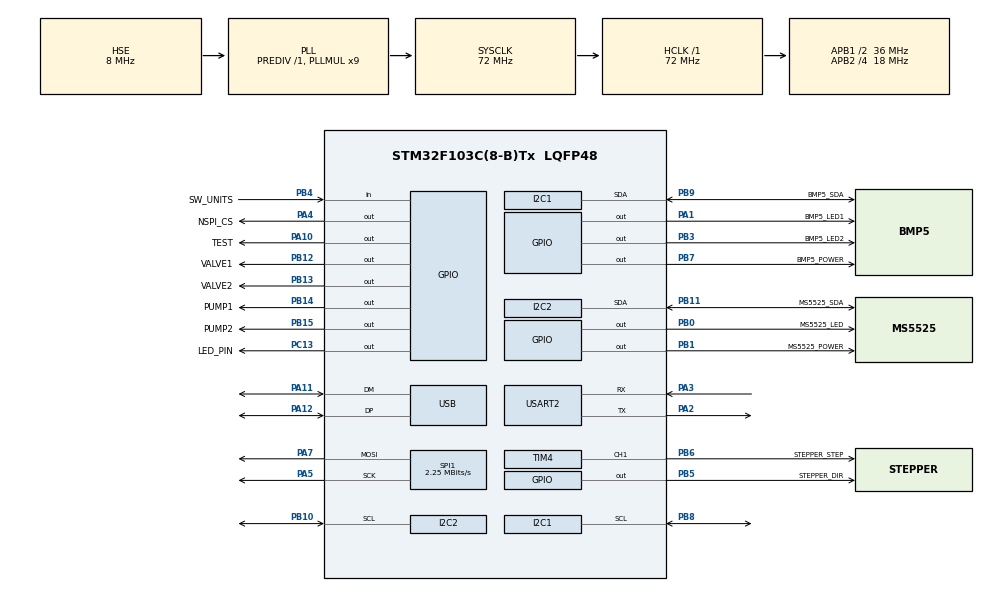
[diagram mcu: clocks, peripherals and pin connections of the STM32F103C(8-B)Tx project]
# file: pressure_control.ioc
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Dma.Request0=USART2_RX
Dma.USART2_RX.0.Direction=DMA_PERIPH_TO_MEMORY
Dma.USART2_RX.0.Instance=DMA1_Channel6
Dma.USART2_RX.0.MemDataAlignment=DMA_MDATAALIGN_BYTE
Dma.USART2_RX.0.MemInc=DMA_MINC_ENABLE
Dma.USART2_RX.0.Mode=DMA_CIRCULAR
Dma.USART2_RX.0.PeriphDataAlignment=DMA_PDATAALIGN_BYTE
Dma.USART2_RX.0.PeriphInc=DMA_PINC_DISABLE
Dma.USART2_RX.0.Priority=DMA_PRIORITY_LOW
I2C1.DutyCycle=I2C_DUTYCYCLE_2
I2C1.I2C_Mode=I2C_Fast
I2C2.I2C_Mode=I2C_Fast
IWDG.Prescaler=IWDG_PRESCALER_64
Mcu.Family=STM32F1
Mcu.Name=STM32F103C(8-B)Tx
Mcu.Package=LQFP48
Mcu.UserConstants=StepperTimer,TIM4;LL_STEPPER_CHANNEL,1
NVIC.DMA1_Channel6_IRQn=true\:0\:0\:false\:false\:true\:false\:true\:true
NVIC.PriorityGroup=NVIC_PRIORITYGROUP_4
NVIC.USB_LP_CAN1_RX0_IRQn=true\:0\:0\:false\:false\:true\:false\:true\:true
PA1.GPIO_Label=BMP5_LED1
PA1.Signal=GPIO_Output
PA10.GPIO_Label=TEST
PA10.GPIO_Speed=GPIO_SPEED_FREQ_HIGH
PA10.Signal=GPIO_Output
PA11.Mode=Device
PA11.Signal=USB_DM
PA12.Mode=Device
PA12.Signal=USB_DP
PA13.Mode=Serial_Wire
PA13.Signal=SYS_JTMS-SWDIO
PA14.Mode=Serial_Wire
PA14.Signal=SYS_JTCK-SWCLK
PA2.Mode=Asynchronous
PA2.Signal=USART2_TX
PA3.Mode=Asynchronous
PA3.Signal=USART2_RX
PA4.GPIO_Label=NSPI_CS
PA4.GPIO_Speed=GPIO_SPEED_FREQ_HIGH
PA4.PinState=GPIO_PIN_SET
PA4.Signal=GPIO_Output
PA5.Mode=TX_Only_Simplex_Unidirect_Master
PA5.Signal=SPI1_SCK
PA7.Mode=TX_Only_Simplex_Unidirect_Master
PA7.Signal=SPI1_MOSI
PB0.GPIO_Label=MS5525_LED
PB0.Signal=GPIO_Output
PB1.GPIO_Label=MS5525_POWER
PB1.GPIO_Speed=GPIO_SPEED_FREQ_HIGH
PB1.PinState=GPIO_PIN_SET
PB1.Signal=GPIO_Output
PB10.Mode=I2C
PB10.Signal=I2C2_SCL
PB11.GPIO_Label=MS5525_SDA
PB11.Mode=I2C
PB11.Signal=I2C2_SDA
PB12.GPIO_Label=VALVE1
PB12.GPIO_ModeDefaultOutputPP=GPIO_MODE_OUTPUT_OD
PB12.GPIO_PuPd=GPIO_NOPULL
PB12.GPIO_Speed=GPIO_SPEED_FREQ_HIGH
PB12.PinState=GPIO_PIN_RESET
PB12.Signal=GPIO_Output
PB13.GPIO_Label=VALVE2
PB13.GPIO_ModeDefaultOutputPP=GPIO_MODE_OUTPUT_OD
PB13.GPIO_PuPd=GPIO_NOPULL
PB13.GPIO_Speed=GPIO_SPEED_FREQ_HIGH
PB13.PinState=GPIO_PIN_RESET
PB13.Signal=GPIO_Output
PB14.GPIO_Label=PUMP1
PB14.GPIO_ModeDefaultOutputPP=GPIO_MODE_OUTPUT_OD
PB14.GPIO_PuPd=GPIO_NOPULL
PB14.GPIO_Speed=GPIO_SPEED_FREQ_HIGH
PB14.PinState=GPIO_PIN_RESET
PB14.Signal=GPIO_Output
PB15.GPIO_Label=PUMP2
PB15.GPIO_ModeDefaultOutputPP=GPIO_MODE_OUTPUT_OD
PB15.GPIO_PuPd=GPIO_NOPULL
PB15.GPIO_Speed=GPIO_SPEED_FREQ_HIGH
PB15.PinState=GPIO_PIN_RESET
PB15.Signal=GPIO_Output
PB3.GPIO_Label=BMP5_LED2
PB3.Signal=GPIO_Output
PB4.GPIO_Label=SW_UNITS
PB4.GPIO_PuPd=GPIO_PULLUP
PB4.Signal=GPIO_Input
PB5.GPIO_Label=STEPPER_DIR
PB5.GPIO_Speed=GPIO_SPEED_FREQ_HIGH
PB5.Signal=GPIO_Output
PB6.GPIO_Label=STEPPER_STEP
PB6.GPIO_Speed=GPIO_SPEED_FREQ_HIGH
PB6.Signal=S_TIM4_CH1
PB7.GPIO_Label=BMP5_POWER
PB7.GPIO_Speed=GPIO_SPEED_FREQ_HIGH
PB7.PinState=GPIO_PIN_SET
PB7.Signal=GPIO_Output
PB8.Mode=I2C
PB8.Signal=I2C1_SCL
PB9.GPIO_Label=BMP5_SDA
PB9.Mode=I2C
PB9.Signal=I2C1_SDA
PC13-TAMPER-RTC.GPIO_Label=LED_PIN
PC13-TAMPER-RTC.PinState=GPIO_PIN_RESET
PC13-TAMPER-RTC.Signal=GPIO_Output
PD0-OSC_IN.Mode=HSE-External-Oscillator
PD0-OSC_IN.Signal=RCC_OSC_IN
PD1-OSC_OUT.Mode=HSE-External-Oscillator
PD1-OSC_OUT.Signal=RCC_OSC_OUT
ProjectManager.HeapSize=0x200
ProjectManager.StackSize=0x400
ProjectManager.TargetToolchain=STM32CubeIDE
RCC.AHBFreq_Value=72000000
RCC.APB1CLKDivider=RCC_HCLK_DIV2
RCC.APB1Freq_Value=36000000
RCC.APB1TimFreq_Value=72000000
RCC.APB2CLKDivider=RCC_HCLK_DIV4
RCC.APB2Freq_Value=18000000
RCC.APB2TimFreq_Value=36000000
RCC.HCLKFreq_Value=72000000
RCC.PLLMUL=RCC_PLL_MUL9
RCC.SYSCLKFreq_VALUE=72000000
RCC.SYSCLKSource=RCC_SYSCLKSOURCE_PLLCLK
RCC.USBFreq_Value=48000000
RCC.USBPrescaler=RCC_USBCLKSOURCE_PLL_DIV1_5
SH.S_TIM4_CH1.0=TIM4_CH1,PWM Generation1 CH1
SPI1.BaudRatePrescaler=SPI_BAUDRATEPRESCALER_8
SPI1.CalculateBaudRate=2.25 MBits/s
SPI1.Direction=SPI_DIRECTION_2LINES
SPI1.Mode=SPI_MODE_MASTER
SPI1.VirtualType=VM_MASTER
TIM1.Channel-Output\ Compare1\ No\ Output=TIM_CHANNEL_1
TIM1.ClockDivision=TIM_CLOCKDIVISION_DIV2
TIM1.OC1Preload=ENABLE
TIM1.OCMode_1=TIM_OCMODE_ACTIVE
TIM1.Prescaler=msec_ticks/2
TIM1.Pulse-Output\ Compare1\ No\ Output=1
TIM1.TIM_MasterOutputTrigger=TIM_TRGO_OC1REF
TIM1.TIM_MasterSlaveMode=TIM_MASTERSLAVEMODE_DISABLE
TIM2.Channel-Output\ Compare1\ No\ Output=TIM_CHANNEL_1
TIM2.OC1Preload=ENABLE
TIM2.OCMode_1=TIM_OCMODE_TOGGLE
TIM2.Prescaler=usec_ticks-1
TIM2.TIM_MasterOutputTrigger=TIM_TRGO_OC1REF
TIM4.AutoReloadPreload=TIM_AUTORELOAD_PRELOAD_ENABLE
TIM4.Channel-PWM\ Generation1\ CH1=TIM_CHANNEL_1
TIM4.Prescaler=usec_ticks-1
USART2.VirtualMode=VM_ASYNC
USB_DEVICE.CLASS_NAME_FS=CDC
USB_DEVICE.VirtualMode=Cdc
USB_DEVICE.VirtualModeFS=Cdc_FS
VP_IWDG_VS_IWDG.Mode=IWDG_Activate
VP_TIM1_VS_ClockSourceINT.Mode=Internal
VP_TIM1_VS_no_output1.Mode=Output Compare1 No Output
VP_TIM2_VS_ClockSourceINT.Mode=Internal
VP_TIM2_VS_no_output1.Mode=Output Compare1 No Output
VP_TIM4_VS_ClockSourceINT.Mode=Internal
VP_USB_DEVICE_VS_USB_DEVICE_CDC_FS.Mode=CDC_FS
board=custom

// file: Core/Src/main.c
/* USER CODE BEGIN Header */
/**
  ******************************************************************************
  * @file           : main.c
  * @brief          : Main program body
  ******************************************************************************
  * @attention
  *
  * Copyright (c) 2026 STMicroelectronics.
  * All rights reserved.
  *
  * This software is licensed under terms that can be found in the LICENSE file
  * in the root directory of this software component.
  * If no LICENSE file comes with this software, it is provided AS-IS.
  *
  ******************************************************************************
  */
/* USER CODE END Header */
#include "main.h"
#include "usb_device.h"

/* USER CODE BEGIN Includes */
#include "usbd_cdc_if.h"

#include "nhd0420dzw.h"
#include "serial.h"
#include "control.h"
/* USER CODE END Includes */

I2C_HandleTypeDef hi2c1;
I2C_HandleTypeDef hi2c2;

IWDG_HandleTypeDef hiwdg;

SPI_HandleTypeDef hspi1;

UART_HandleTypeDef huart2;
DMA_HandleTypeDef hdma_usart2_rx;

/* USER CODE BEGIN PV */
/* System clock ticks per millisecond */
uint32_t msec_ticks;
/* System clock ticks per microsecond */
uint32_t usec_ticks;

/* Sensor output data */
struct bmp5_sensor_data bmp5_data[2];
ms5525dso_data_t ms5525_data;

/* Device handles */
bmp580_ref bmp5_dev1 = NULL;
bmp580_ref bmp5_dev2 = NULL;
ms5525_ref ms5525_dev = NULL;
nhd0420_ref lcd_dev = NULL;

/*
 * Integral status of all sensors.
 */
HAL_StatusTypeDef sensors_active = HAL_OK;

device_status_t device_status_table[DEV_STATUS_COUNT] = {
    [DEV_SENSOR_BMP_1] = {
	HAL_ERROR,
	&hi2c1,
	BMP5_LED1_GPIO_Port,
	BMP5_LED1_Pin,
    },
    [DEV_SENSOR_BMP_2] = {
	HAL_ERROR,
	&hi2c1,
	BMP5_LED2_GPIO_Port,
	BMP5_LED2_Pin,
    },
    [DEV_SENSOR_MS5525] = {
	HAL_ERROR,
	&hi2c2,
	MS5525_LED_GPIO_Port,
	MS5525_LED_Pin,
    },
};

/* Button states */
#define UNITS_SWITCH_IS_MOMENTARY 0

enum {
  BTN_UNITS = 0,
  BTN_COUNT,
};

static uint8_t buttons_states[BTN_COUNT] = { 0 };
static uint8_t button_pressed[BTN_COUNT] = { 0 };

static GPIO_TypeDef *buttons_ports[BTN_COUNT] = { SW_UNITS_GPIO_Port };
static uint32_t buttons_pins[BTN_COUNT] = { SW_UNITS_Pin };

/* Display units */
enum {
  UNITS_SET1, /* Pa */
  UNITS_SET2, /* PSI, inHg */
  UNITS_SET_COUNT,
};

static uint8_t active_units = UNITS_SET1;

/* USER CODE END PV */

void SystemClock_Config(void);
static void MX_GPIO_Init(void);
static void MX_DMA_Init(void);
static void MX_SPI1_Init(void);
static void MX_USART2_UART_Init(void);
static void MX_TIM1_Init(void);
static void MX_TIM4_Init(void);
static void MX_I2C1_Init(void);
static void MX_TIM2_Init(void);
static void MX_I2C2_Init(void);
static void MX_IWDG_Init(void);
/* USER CODE BEGIN PFP */
void read_sensors(void);
void update_screen(void);
void update_system_status(void);
void check_reset_i2c_bus(void);
/* USER CODE END PFP */

/* USER CODE BEGIN 0 */
/**
 * TIM1 is setup to run at 1kHz, counting milliseconds.
 * This is 16-bit timer used to time short intervals needed by sensors.
 */
uint16_t ms_clock(void)
{
  return TIM1->CNT;
}

/**
 * TIM2 is setup to run at 1MHz, counting microseconds.
 * This is 16-bit timer used to time short intervals needed by sensors.
 */
uint16_t us_clock(void)
{
  return TIM2->CNT;
}

void us_delay(uint32_t delay)
{
  uint16_t cnt = LL_TIM_GetCounter(TIM2);
  uint16_t new_cnt = cnt + delay;
  LL_TIM_OC_SetCompareCH1(TIM2, new_cnt);
  while (LL_TIM_GetCounter(TIM2) - cnt < delay) {
//      __WFI();
  }
}

/* Button processing function.
 * Button press action is registered upon release.
 * This function does not do jitter filtering.
 * Registered press action is stored in the button_pressed[] array.
 * The reader is responsible for clearing the flag after reading.
 *  */
static void check_button_presses(void)
{
  unsigned i;
  for (i = 0; i < BTN_COUNT; i++) {
      uint32_t pinstate = LL_GPIO_IsInputPinSet(buttons_ports[i], buttons_pins[i]);

      if (pinstate ^ buttons_states[i]) {
	  button_pressed[i] = buttons_states[i];
      }

      buttons_states[i] = pinstate;
  }
}

/* Units selection */
static void check_units_button(void)
{
#if UNITS_SWITCH_IS_MOMENTARY
  if (button_pressed[BTN_UNITS]) {
      button_pressed[BTN_UNITS] = 0;
      active_units += 1;
      if (active_units > UNITS_SET_COUNT) {
	  active_units = UNITS_SET1;
      }
  }
#else
  active_units = buttons_states[BTN_UNITS] ? UNITS_SET1 : UNITS_SET2;
#endif
}

/* USER CODE END 0 */

int main(void)
{

  /* MCU Configuration--------------------------------------------------------*/

  /* Reset of all peripherals, Initializes the Flash interface and the Systick. */
  HAL_Init();

  /* Configure the system clock */
  SystemClock_Config();

  /* USER CODE BEGIN SysInit */
  usec_ticks = (HAL_RCC_GetHCLKFreq() / 1000000);

  /* When assigning Prescaler divide by 2 to fit in 16 bits. ClockDivision must be also set to DIV2 */
  msec_ticks = (HAL_RCC_GetHCLKFreq() / 1000);
  /* USER CODE END SysInit */

  /* Initialize all configured peripherals */
  MX_GPIO_Init();
  MX_DMA_Init();
  MX_SPI1_Init();
  MX_USART2_UART_Init();
  MX_USB_DEVICE_Init();
  MX_TIM1_Init();
  MX_TIM4_Init();
  MX_I2C1_Init();
  MX_TIM2_Init();
  MX_I2C2_Init();
  MX_IWDG_Init();
  /* USER CODE BEGIN 2 */
//  LL_TIM_CC_EnableChannel(TIM1, LL_TIM_CHANNEL_CH1 | LL_TIM_CHANNEL_CH2 | LL_TIM_CHANNEL_CH3);
  LL_TIM_EnableCounter(TIM1);
  LL_TIM_EnableCounter(TIM2);
//  LL_TIM_EnableCounter(TIM3);
  LL_TIM_EnableCounter(TIM4);

  load_control_parameters(&hi2c2);
//  HAL_GPIO_WritePin(LED_PIN_GPIO_Port, LED_PIN_Pin, 1);
  /* USER CODE END 2 */

  /* Infinite loop */
  /* USER CODE BEGIN WHILE */
  lcd_dev = nhd0420_setup(&hspi1);

  uint16_t usec_counter = us_clock();
  uint16_t l_delta = 0;
  uint32_t update_screen_timer = 0;

  while (1)
  {
      l_delta = us_clock() - usec_counter;
      usec_counter += l_delta;

      update_screen_timer += l_delta;
      if (update_screen_timer > 500000) {

	  check_save_control_parameters(&hi2c2);
	  check_units_button();

	  /* Update screen every 0.5 second */
	  update_screen_timer -= 500000;
	  update_screen();

	  /* Indicate overall system health using the on-board led.
	   * Solid green = Good, blinking green = Error. */
	  if (HAL_OK == sensors_active) {
	      LL_GPIO_ResetOutputPin(LED_PIN_GPIO_Port, LED_PIN_Pin);
	      HAL_IWDG_Refresh(&hiwdg);
	  } else {
	      LL_GPIO_TogglePin(LED_PIN_GPIO_Port, LED_PIN_Pin);
	  }
      }

      read_sensors();
      update_system_status();
      run_control_loop();
      check_reset_i2c_bus();
      check_button_presses();
    /* USER CODE END WHILE */

    /* USER CODE BEGIN 3 */
      process_serial_input();
  }
  /* USER CODE END 3 */
}

void SystemClock_Config(void)
{
  RCC_OscInitTypeDef RCC_OscInitStruct = {0};
  RCC_ClkInitTypeDef RCC_ClkInitStruct = {0};
  RCC_PeriphCLKInitTypeDef PeriphClkInit = {0};

  /** Initializes the RCC Oscillators according to the specified parameters
  * in the RCC_OscInitTypeDef structure.
  */
  RCC_OscInitStruct.OscillatorType = RCC_OSCILLATORTYPE_LSI|RCC_OSCILLATORTYPE_HSE;
  RCC_OscInitStruct.HSEState = RCC_HSE_ON;
  RCC_OscInitStruct.HSEPredivValue = RCC_HSE_PREDIV_DIV1;
  RCC_OscInitStruct.HSIState = RCC_HSI_ON;
  RCC_OscInitStruct.LSIState = RCC_LSI_ON;
  RCC_OscInitStruct.PLL.PLLState = RCC_PLL_ON;
  RCC_OscInitStruct.PLL.PLLSource = RCC_PLLSOURCE_HSE;
  RCC_OscInitStruct.PLL.PLLMUL = RCC_PLL_MUL9;
  if (HAL_RCC_OscConfig(&RCC_OscInitStruct) != HAL_OK)
  {
    Error_Handler();
  }

  /** Initializes the CPU, AHB and APB buses clocks
  */
  RCC_ClkInitStruct.ClockType = RCC_CLOCKTYPE_HCLK|RCC_CLOCKTYPE_SYSCLK
                              |RCC_CLOCKTYPE_PCLK1|RCC_CLOCKTYPE_PCLK2;
  RCC_ClkInitStruct.SYSCLKSource = RCC_SYSCLKSOURCE_PLLCLK;
  RCC_ClkInitStruct.AHBCLKDivider = RCC_SYSCLK_DIV1;
  RCC_ClkInitStruct.APB1CLKDivider = RCC_HCLK_DIV2;
  RCC_ClkInitStruct.APB2CLKDivider = RCC_HCLK_DIV4;

  if (HAL_RCC_ClockConfig(&RCC_ClkInitStruct, FLASH_LATENCY_2) != HAL_OK)
  {
    Error_Handler();
  }
  PeriphClkInit.PeriphClockSelection = RCC_PERIPHCLK_USB;
  PeriphClkInit.UsbClockSelection = RCC_USBCLKSOURCE_PLL_DIV1_5;
  if (HAL_RCCEx_PeriphCLKConfig(&PeriphClkInit) != HAL_OK)
  {
    Error_Handler();
  }
}

static void MX_I2C1_Init(void)
{

  hi2c1.Instance = I2C1;
  hi2c1.Init.ClockSpeed = 400000;
  hi2c1.Init.DutyCycle = I2C_DUTYCYCLE_2;
  hi2c1.Init.OwnAddress1 = 0;
  hi2c1.Init.AddressingMode = I2C_ADDRESSINGMODE_7BIT;
  hi2c1.Init.DualAddressMode = I2C_DUALADDRESS_DISABLE;
  hi2c1.Init.OwnAddress2 = 0;
  hi2c1.Init.GeneralCallMode = I2C_GENERALCALL_DISABLE;
  hi2c1.Init.NoStretchMode = I2C_NOSTRETCH_DISABLE;
  if (HAL_I2C_Init(&hi2c1) != HAL_OK)
  {
    Error_Handler();
  }

}

static void MX_I2C2_Init(void)
{

  hi2c2.Instance = I2C2;
  hi2c2.Init.ClockSpeed = 400000;
  hi2c2.Init.DutyCycle = I2C_DUTYCYCLE_2;
  hi2c2.Init.OwnAddress1 = 0;
  hi2c2.Init.AddressingMode = I2C_ADDRESSINGMODE_7BIT;
  hi2c2.Init.DualAddressMode = I2C_DUALADDRESS_DISABLE;
  hi2c2.Init.OwnAddress2 = 0;
  hi2c2.Init.GeneralCallMode = I2C_GENERALCALL_DISABLE;
  hi2c2.Init.NoStretchMode = I2C_NOSTRETCH_DISABLE;
  if (HAL_I2C_Init(&hi2c2) != HAL_OK)
  {
    Error_Handler();
  }

}

static void MX_IWDG_Init(void)
{

  hiwdg.Instance = IWDG;
  hiwdg.Init.Prescaler = IWDG_PRESCALER_64;
  hiwdg.Init.Reload = 4095;
  if (HAL_IWDG_Init(&hiwdg) != HAL_OK)
  {
    Error_Handler();
  }

}

static void MX_SPI1_Init(void)
{

  /* SPI1 parameter configuration*/
  hspi1.Instance = SPI1;
  hspi1.Init.Mode = SPI_MODE_MASTER;
  hspi1.Init.Direction = SPI_DIRECTION_2LINES;
  hspi1.Init.DataSize = SPI_DATASIZE_8BIT;
  hspi1.Init.CLKPolarity = SPI_POLARITY_LOW;
  hspi1.Init.CLKPhase = SPI_PHASE_1EDGE;
  hspi1.Init.NSS = SPI_NSS_SOFT;
  hspi1.Init.BaudRatePrescaler = SPI_BAUDRATEPRESCALER_8;
  hspi1.Init.FirstBit = SPI_FIRSTBIT_MSB;
  hspi1.Init.TIMode = SPI_TIMODE_DISABLE;
  hspi1.Init.CRCCalculation = SPI_CRCCALCULATION_DISABLE;
  hspi1.Init.CRCPolynomial = 10;
  if (HAL_SPI_Init(&hspi1) != HAL_OK)
  {
    Error_Handler();
  }

}

static void MX_TIM1_Init(void)
{

  LL_TIM_InitTypeDef TIM_InitStruct = {0};
  LL_TIM_OC_InitTypeDef TIM_OC_InitStruct = {0};
  LL_TIM_BDTR_InitTypeDef TIM_BDTRInitStruct = {0};

  /* Peripheral clock enable */
  LL_APB2_GRP1_EnableClock(LL_APB2_GRP1_PERIPH_TIM1);

  TIM_InitStruct.Prescaler = msec_ticks/2;
  TIM_InitStruct.CounterMode = LL_TIM_COUNTERMODE_UP;
  TIM_InitStruct.Autoreload = 65535;
  TIM_InitStruct.ClockDivision = LL_TIM_CLOCKDIVISION_DIV2;
  TIM_InitStruct.RepetitionCounter = 0;
  LL_TIM_Init(TIM1, &TIM_InitStruct);
  LL_TIM_DisableARRPreload(TIM1);
  LL_TIM_SetClockSource(TIM1, LL_TIM_CLOCKSOURCE_INTERNAL);
  TIM_OC_InitStruct.OCMode = LL_TIM_OCMODE_ACTIVE;
  TIM_OC_InitStruct.OCState = LL_TIM_OCSTATE_DISABLE;
  TIM_OC_InitStruct.OCNState = LL_TIM_OCSTATE_DISABLE;
  TIM_OC_InitStruct.CompareValue = 1;
  TIM_OC_InitStruct.OCPolarity = LL_TIM_OCPOLARITY_HIGH;
  TIM_OC_InitStruct.OCNPolarity = LL_TIM_OCPOLARITY_HIGH;
  TIM_OC_InitStruct.OCIdleState = LL_TIM_OCIDLESTATE_LOW;
  TIM_OC_InitStruct.OCNIdleState = LL_TIM_OCIDLESTATE_LOW;
  LL_TIM_OC_Init(TIM1, LL_TIM_CHANNEL_CH1, &TIM_OC_InitStruct);
  LL_TIM_OC_DisableFast(TIM1, LL_TIM_CHANNEL_CH1);
  LL_TIM_SetTriggerOutput(TIM1, LL_TIM_TRGO_OC1REF);
  LL_TIM_DisableMasterSlaveMode(TIM1);
  LL_TIM_OC_EnablePreload(TIM1, LL_TIM_CHANNEL_CH1);
  TIM_BDTRInitStruct.OSSRState = LL_TIM_OSSR_DISABLE;
  TIM_BDTRInitStruct.OSSIState = LL_TIM_OSSI_DISABLE;
  TIM_BDTRInitStruct.LockLevel = LL_TIM_LOCKLEVEL_OFF;
  TIM_BDTRInitStruct.DeadTime = 0;
  TIM_BDTRInitStruct.BreakState = LL_TIM_BREAK_DISABLE;
  TIM_BDTRInitStruct.BreakPolarity = LL_TIM_BREAK_POLARITY_HIGH;
  TIM_BDTRInitStruct.AutomaticOutput = LL_TIM_AUTOMATICOUTPUT_DISABLE;
  LL_TIM_BDTR_Init(TIM1, &TIM_BDTRInitStruct);

}

static void MX_TIM2_Init(void)
{

  LL_TIM_InitTypeDef TIM_InitStruct = {0};
  LL_TIM_OC_InitTypeDef TIM_OC_InitStruct = {0};

  /* Peripheral clock enable */
  LL_APB1_GRP1_EnableClock(LL_APB1_GRP1_PERIPH_TIM2);

  TIM_InitStruct.Prescaler = usec_ticks-1;
  TIM_InitStruct.CounterMode = LL_TIM_COUNTERMODE_UP;
  TIM_InitStruct.Autoreload = 65535;
  TIM_InitStruct.ClockDivision = LL_TIM_CLOCKDIVISION_DIV1;
  LL_TIM_Init(TIM2, &TIM_InitStruct);
  LL_TIM_DisableARRPreload(TIM2);
  LL_TIM_SetClockSource(TIM2, LL_TIM_CLOCKSOURCE_INTERNAL);
  TIM_OC_InitStruct.OCMode = LL_TIM_OCMODE_TOGGLE;
  TIM_OC_InitStruct.OCState = LL_TIM_OCSTATE_DISABLE;
  TIM_OC_InitStruct.OCNState = LL_TIM_OCSTATE_DISABLE;
  TIM_OC_InitStruct.CompareValue = 0;
  TIM_OC_InitStruct.OCPolarity = LL_TIM_OCPOLARITY_HIGH;
  LL_TIM_OC_Init(TIM2, LL_TIM_CHANNEL_CH1, &TIM_OC_InitStruct);
  LL_TIM_OC_DisableFast(TIM2, LL_TIM_CHANNEL_CH1);
  LL_TIM_SetTriggerOutput(TIM2, LL_TIM_TRGO_OC1REF);
  LL_TIM_DisableMasterSlaveMode(TIM2);
  LL_TIM_OC_EnablePreload(TIM2, LL_TIM_CHANNEL_CH1);

}

static void MX_TIM4_Init(void)
{

  LL_TIM_InitTypeDef TIM_InitStruct = {0};
  LL_TIM_OC_InitTypeDef TIM_OC_InitStruct = {0};

  LL_GPIO_InitTypeDef GPIO_InitStruct = {0};

  /* Peripheral clock enable */
  LL_APB1_GRP1_EnableClock(LL_APB1_GRP1_PERIPH_TIM4);

  TIM_InitStruct.Prescaler = usec_ticks-1;
  TIM_InitStruct.CounterMode = LL_TIM_COUNTERMODE_UP;
  TIM_InitStruct.Autoreload = 65535;
  TIM_InitStruct.ClockDivision = LL_TIM_CLOCKDIVISION_DIV1;
  LL_TIM_Init(TIM4, &TIM_InitStruct);
  LL_TIM_EnableARRPreload(TIM4);
  LL_TIM_SetClockSource(TIM4, LL_TIM_CLOCKSOURCE_INTERNAL);
  LL_TIM_OC_EnablePreload(TIM4, LL_TIM_CHANNEL_CH1);
  TIM_OC_InitStruct.OCMode = LL_TIM_OCMODE_PWM1;
  TIM_OC_InitStruct.OCState = LL_TIM_OCSTATE_DISABLE;
  TIM_OC_InitStruct.OCNState = LL_TIM_OCSTATE_DISABLE;
  TIM_OC_InitStruct.CompareValue = 0;
  TIM_OC_InitStruct.OCPolarity = LL_TIM_OCPOLARITY_HIGH;
  LL_TIM_OC_Init(TIM4, LL_TIM_CHANNEL_CH1, &TIM_OC_InitStruct);
  LL_TIM_OC_DisableFast(TIM4, LL_TIM_CHANNEL_CH1);
  LL_TIM_SetTriggerOutput(TIM4, LL_TIM_TRGO_RESET);
  LL_TIM_DisableMasterSlaveMode(TIM4);
  LL_APB2_GRP1_EnableClock(LL_APB2_GRP1_PERIPH_GPIOB);
  /**TIM4 GPIO Configuration
  PB6   ------> TIM4_CH1
  */
  GPIO_InitStruct.Pin = STEPPER_STEP_Pin;
  GPIO_InitStruct.Mode = LL_GPIO_MODE_ALTERNATE;
  GPIO_InitStruct.Speed = LL_GPIO_SPEED_FREQ_HIGH;
  GPIO_InitStruct.OutputType = LL_GPIO_OUTPUT_PUSHPULL;
  LL_GPIO_Init(STEPPER_STEP_GPIO_Port, &GPIO_InitStruct);

}

static void MX_USART2_UART_Init(void)
{

  huart2.Instance = USART2;
  huart2.Init.BaudRate = 115200;
  huart2.Init.WordLength = UART_WORDLENGTH_8B;
  huart2.Init.StopBits = UART_STOPBITS_1;
  huart2.Init.Parity = UART_PARITY_NONE;
  huart2.Init.Mode = UART_MODE_TX_RX;
  huart2.Init.HwFlowCtl = UART_HWCONTROL_NONE;
  huart2.Init.OverSampling = UART_OVERSAMPLING_16;
  if (HAL_UART_Init(&huart2) != HAL_OK)
  {
    Error_Handler();
  }

}

static void MX_DMA_Init(void)
{

  /* DMA controller clock enable */
  __HAL_RCC_DMA1_CLK_ENABLE();

  /* DMA interrupt init */
  /* DMA1_Channel6_IRQn interrupt configuration */
  HAL_NVIC_SetPriority(DMA1_Channel6_IRQn, 0, 0);
  HAL_NVIC_EnableIRQ(DMA1_Channel6_IRQn);

}

static void MX_GPIO_Init(void)
{
  LL_GPIO_InitTypeDef GPIO_InitStruct = {0};

  /* GPIO Ports Clock Enable */
  LL_APB2_GRP1_EnableClock(LL_APB2_GRP1_PERIPH_GPIOC);
  LL_APB2_GRP1_EnableClock(LL_APB2_GRP1_PERIPH_GPIOD);
  LL_APB2_GRP1_EnableClock(LL_APB2_GRP1_PERIPH_GPIOA);
  LL_APB2_GRP1_EnableClock(LL_APB2_GRP1_PERIPH_GPIOB);

  /**/
  LL_GPIO_ResetOutputPin(LED_PIN_GPIO_Port, LED_PIN_Pin);

  /**/
  LL_GPIO_ResetOutputPin(GPIOA, BMP5_LED1_Pin|TEST_Pin);

  /**/
  LL_GPIO_ResetOutputPin(GPIOB, MS5525_LED_Pin|VALVE1_Pin|VALVE2_Pin|PUMP1_Pin
                          |PUMP2_Pin|BMP5_LED2_Pin|STEPPER_DIR_Pin);

  /**/
  LL_GPIO_SetOutputPin(NSPI_CS_GPIO_Port, NSPI_CS_Pin);

  /**/
  LL_GPIO_SetOutputPin(GPIOB, MS5525_POWER_Pin|BMP5_POWER_Pin);

  /**/
  GPIO_InitStruct.Pin = LED_PIN_Pin;
  GPIO_InitStruct.Mode = LL_GPIO_MODE_OUTPUT;
  GPIO_InitStruct.Speed = LL_GPIO_SPEED_FREQ_LOW;
  GPIO_InitStruct.OutputType = LL_GPIO_OUTPUT_PUSHPULL;
  LL_GPIO_Init(LED_PIN_GPIO_Port, &GPIO_InitStruct);

  /**/
  GPIO_InitStruct.Pin = BMP5_LED1_Pin;
  GPIO_InitStruct.Mode = LL_GPIO_MODE_OUTPUT;
  GPIO_InitStruct.Speed = LL_GPIO_SPEED_FREQ_LOW;
  GPIO_InitStruct.OutputType = LL_GPIO_OUTPUT_PUSHPULL;
  LL_GPIO_Init(BMP5_LED1_GPIO_Port, &GPIO_InitStruct);

  /**/
  GPIO_InitStruct.Pin = NSPI_CS_Pin|TEST_Pin;
  GPIO_InitStruct.Mode = LL_GPIO_MODE_OUTPUT;
  GPIO_InitStruct.Speed = LL_GPIO_SPEED_FREQ_HIGH;
  GPIO_InitStruct.OutputType = LL_GPIO_OUTPUT_PUSHPULL;
  LL_GPIO_Init(GPIOA, &GPIO_InitStruct);

  /**/
  GPIO_InitStruct.Pin = MS5525_LED_Pin|BMP5_LED2_Pin|STEPPER_DIR_Pin;
  GPIO_InitStruct.Mode = LL_GPIO_MODE_OUTPUT;
  GPIO_InitStruct.Speed = LL_GPIO_SPEED_FREQ_HIGH;
  GPIO_InitStruct.OutputType = LL_GPIO_OUTPUT_PUSHPULL;
  LL_GPIO_Init(GPIOB, &GPIO_InitStruct);

  /**/
  GPIO_InitStruct.Pin = MS5525_POWER_Pin|BMP5_POWER_Pin;
  GPIO_InitStruct.Mode = LL_GPIO_MODE_OUTPUT;
  GPIO_InitStruct.Speed = LL_GPIO_SPEED_FREQ_HIGH;
  GPIO_InitStruct.OutputType = LL_GPIO_OUTPUT_PUSHPULL;
  LL_GPIO_Init(GPIOB, &GPIO_InitStruct);

  /**/
  GPIO_InitStruct.Pin = VALVE1_Pin|VALVE2_Pin|PUMP1_Pin|PUMP2_Pin;
  GPIO_InitStruct.Mode = LL_GPIO_MODE_OUTPUT;
  GPIO_InitStruct.Speed = LL_GPIO_SPEED_FREQ_HIGH;
  GPIO_InitStruct.OutputType = LL_GPIO_OUTPUT_OPENDRAIN;
  LL_GPIO_Init(GPIOB, &GPIO_InitStruct);

  /**/
  GPIO_InitStruct.Pin = SW_UNITS_Pin;
  GPIO_InitStruct.Mode = LL_GPIO_MODE_INPUT;
  GPIO_InitStruct.Pull = LL_GPIO_PULL_UP;
  LL_GPIO_Init(SW_UNITS_GPIO_Port, &GPIO_InitStruct);

/* USER CODE BEGIN MX_GPIO_Init_2 */
  /*
   * Check and reset the sensors if needed before I2C is initialized.
   */
    ms5525_check_reset();
    bmp580_check_reset();

/* USER CODE END MX_GPIO_Init_2 */
}

/* USER CODE BEGIN 4 */

uint32_t check_reset_i2c_bus_intf(I2C_HandleTypeDef *hi2c)
{
  uint32_t sr1itflags = READ_REG(hi2c->Instance->SR1);
  uint32_t sr2itflags = READ_REG(hi2c->Instance->SR2);
  uint32_t error = 0;

  /* I2C Arbitration Lost error interrupt occurred ---------------------------*/
  if ((I2C_CHECK_FLAG(sr1itflags, I2C_FLAG_ARLO) != RESET))
  {
    error |= HAL_I2C_ERROR_ARLO;

    /* Clear ARLO flag */
    __HAL_I2C_CLEAR_FLAG(hi2c, I2C_FLAG_ARLO);
  }

  if ((I2C_CHECK_FLAG(sr1itflags, I2C_FLAG_BERR) != RESET) || (I2C_CHECK_FLAG(sr2itflags, I2C_FLAG_BUSY) != RESET))
  {
    error |= HAL_I2C_ERROR_BERR;
    __HAL_I2C_DISABLE(hi2c);

    /* Clear BERR flag */
    __HAL_I2C_CLEAR_FLAG(hi2c, I2C_FLAG_BERR);

    /* Save frequency and interrupt settings */
    uint32_t save_cr2 = hi2c->Instance->CR2;
    uint32_t save_ccr = hi2c->Instance->CCR;
    uint32_t save_trise = hi2c->Instance->TRISE;
    /* Workaround: Start cannot be generated after a misplaced Stop */
    SET_BIT(hi2c->Instance->CR1, I2C_CR1_SWRST);
    CLEAR_BIT(hi2c->Instance->CR1, I2C_CR1_SWRST);
    /* Restore */
    hi2c->Instance->CR2 = save_cr2;
    hi2c->Instance->CCR = save_ccr;
    hi2c->Instance->TRISE = save_trise;
    __HAL_I2C_ENABLE(hi2c);
  }

  return error;
}

void check_reset_i2c_bus(void)
{
  unsigned i;

  for (i = 0; i < lengthof(device_status_table); i++) {
      if (HAL_OK != device_status_table[i].status) {
	  check_reset_i2c_bus_intf(device_status_table[i].intf);
      }
  }
}

void read_sensors(void)
{
  if (NULL == ms5525_dev) {
	ms5525_dev = ms5525_setup(0, MS5525DSO_pp001DS, MS5525DSO_OSR_4096, device_status_table[DEV_SENSOR_MS5525].intf);
  } else {
	device_status_table[DEV_SENSOR_MS5525].status =
	    ms5525_read_data(ms5525_dev, &ms5525_data);
  }

  if (NULL == bmp5_dev1) {
	  bmp5_dev1 = bmp580_setup(0, device_status_table[DEV_SENSOR_BMP_1].intf);
  } else {
	device_status_table[DEV_SENSOR_BMP_1].status =
	    bmp580_read_measurements(&bmp5_data[0], bmp5_dev1);
  }

  if (NULL == bmp5_dev2) {
      bmp5_dev2 = bmp580_setup(1, device_status_table[DEV_SENSOR_BMP_1].intf);
  } else {
	device_status_table[DEV_SENSOR_BMP_2].status =
	    bmp580_read_measurements(&bmp5_data[1], bmp5_dev2);
  }

}

void update_system_status(void)
{
  sensors_active = HAL_OK;
  unsigned i;
  for (i = 0; i < lengthof(device_status_table); i++) {
      if (NULL != device_status_table[i].ind_port) {
	  if (HAL_OK == device_status_table[i].status) {
	      LL_GPIO_SetOutputPin(device_status_table[i].ind_port, device_status_table[i].ind_pin);
	  } else {
	      LL_GPIO_ResetOutputPin(device_status_table[i].ind_port, device_status_table[i].ind_pin);
	  }
      }
      if (HAL_OK != device_status_table[i].status) {
	  sensors_active = HAL_ERROR;
      }
  }
}

static int32_t pa100_to_psi(int32_t pa100)
{
  return pa100 / 6895;
}

static int32_t pa_to_psi(int32_t pa)
{
  return (pa * 100) / 6895;
}

static int32_t pa100_to_inhg(int32_t pa100)
{
  return pa100 / 3386;
}

static int32_t pa100_to_inh2o(int32_t pa100)
{
  return (pa100*10) / 2488;
}
/*
static int32_t pa_to_inhg(int32_t pa)
{
  return (pa * 100) / 3386;
}

static int32_t pa_to_inh2o(int32_t pa)
{
  return (pa*1000) / 2488;
}
*/
void update_screen(void)
{
  if (NULL == lcd_dev)
      return;

  long v1 = 0, v2 = 0;
  long u1 = 0, u2 = 0;
  /* Use Pa */
  if (UNITS_SET1 == active_units) {
      v1 = bmp5_data[STATIC_PRESSURE_SENSOR_INDEX].pressure/1000;
      v2 = serial_exchange_data.control.static_pressure/10;
      u1 = ms5525_data.pressure/1000;
      u2 = serial_exchange_data.control.pitot_pressure/10;
  }

  /* Use PSI */
  if (UNITS_SET2 == active_units) {
      v1 = pa100_to_psi(bmp5_data[STATIC_PRESSURE_SENSOR_INDEX].pressure);
      v2 = pa_to_psi(serial_exchange_data.control.static_pressure);
      u1 = pa100_to_psi(ms5525_data.pressure);
      u2 = pa_to_psi(serial_exchange_data.control.pitot_pressure);
  }

  lcd_printf(lcd_dev, 0, 0, "%7ld.%02ld%6ld.%02ld", v2/100, labs(v2%100), u2/100, labs(u2%100));
  lcd_printf(lcd_dev, 0, 1, "%7ld.%02ld%6ld.%02ld", v1/100, labs(v1%100), u1/100, labs(u1%100));

  int32_t static_ambient_diff = (int32_t)bmp5_data[AMBIENT_PRESSURE_SENSOR_INDEX].pressure -
	  (int32_t)bmp5_data[STATIC_PRESSURE_SENSOR_INDEX].pressure;

  int32_t set_ambient_diff = (int32_t)bmp5_data[AMBIENT_PRESSURE_SENSOR_INDEX].pressure -
	  (int32_t)serial_exchange_data.control.static_pressure*100;
/*
  int32_t pitot_static_diff = (int32_t)bmp5_data[AMBIENT_PRESSURE_SENSOR_INDEX].pressure -
	  (int32_t)ms5525_data.pressure;
*/
  int32_t w1 = pa100_to_inhg(static_ambient_diff);
  int32_t w2 = pa100_to_inhg(set_ambient_diff);

  int32_t z1 = pa100_to_inh2o(ms5525_data.pressure);
  int32_t z2 = pa100_to_inh2o(serial_exchange_data.control.pitot_pressure*100);

  lcd_printf(lcd_dev, 0, 2, "%7ld.%02ld%6ld.%02ld", w2/100, labs(w2%100), z2/100, labs(z2%100));
  lcd_printf(lcd_dev, 0, 3, "%7ld.%02ld%6ld.%02ld", w1/100, labs(w1%100), z1/100, labs(z1%100));

//  lcd_printf(lcd_dev, 0, 3, "T3=%3d.%02d\xb2", ms5525_data.temperature/100, ms5525_data.temperature%100);
  lcd_flush(lcd_dev);
}

/* USER CODE END 4 */

void Error_Handler(void)
{
  __disable_irq();
  while (1)
  {
  }
}
